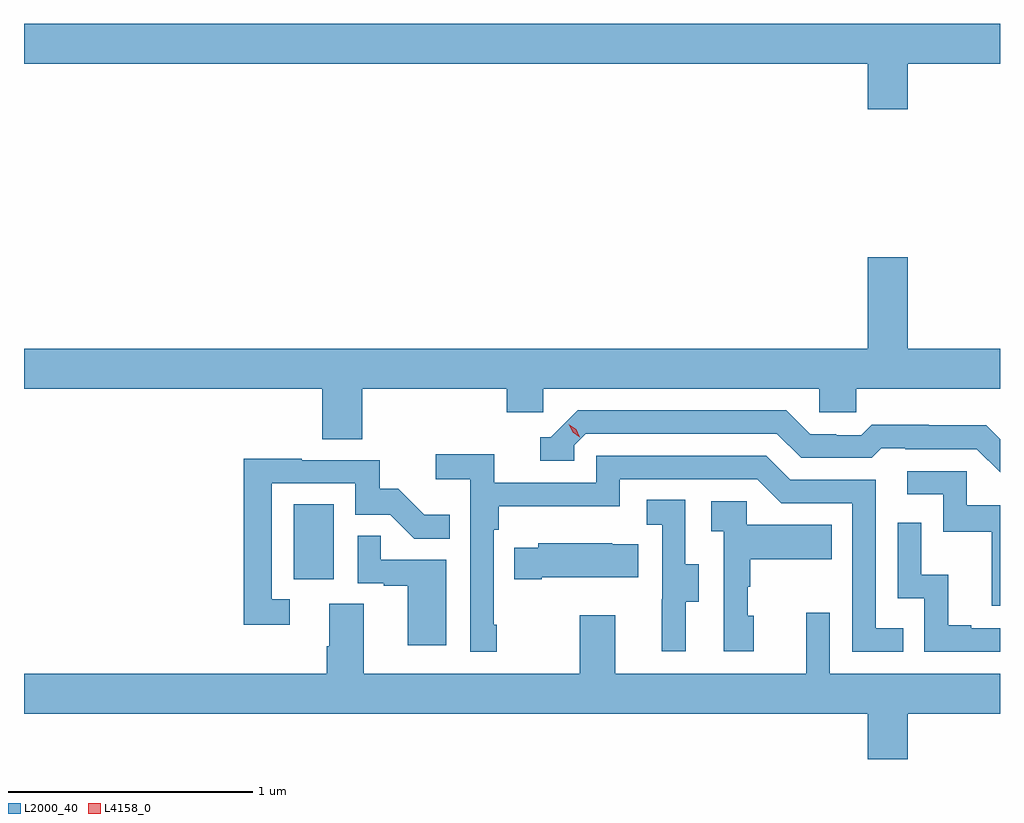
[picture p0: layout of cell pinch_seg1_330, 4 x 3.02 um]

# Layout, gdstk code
import gdstk
lib = gdstk.Library(unit=1e-6, precision=1e-09)
def R(c, l, rs):  # rectangles x0, y0, x1, y1
    for r in rs: c.add(gdstk.rectangle(r[:2], r[2:], *l))
def P(c, l, *ps):  # polygons
    for p in ps: c.add(gdstk.Polygon(p, *l))
L2000_40 = (2000, 40)
L4158_0 = (4158, 0)

pinch_seg1_330 = lib.new_cell('pinch_seg1_330')
R(pinch_seg1_330, L2000_40, [(1001.816,542.958,1001.98,543.265)])
P(pinch_seg1_330, L2000_40, [(1004.332,545.072),(1004.711,545.072),(1004.711,545.236),(1000.711,545.236),(1000.711,545.072),(1004.168,545.072),(1004.168,544.884),(1004.332,544.884)],
  [(1002.098,543.74),(1002.689,543.74),(1002.689,543.642),(1002.84,543.642),(1002.84,543.74),(1003.971,543.74),(1003.971,543.642),(1004.121,543.642),(1004.121,543.74),(1004.711,543.74),(1004.711,543.904),(1004.332,543.904),(1004.332,544.279),(1004.168,544.279),(1004.168,543.904),(1000.711,543.904),(1000.711,543.74),(1001.933,543.74),(1001.933,543.532),(1002.098,543.532)],
  [(1004.711,543.532),(1004.654,543.589),(1004.418,543.589),(1004.418,543.592),(1004.185,543.592),(1004.143,543.549),(1004.04,543.549),(1004.04,543.552),(1003.933,543.552),(1003.834,543.651),(1002.981,543.651),(1002.87,543.54),(1002.827,543.54),(1002.827,543.444),(1002.966,543.444),(1002.966,543.507),(1003.014,543.555),(1003.797,543.555),(1003.896,543.456),(1004.185,543.456),(1004.224,543.495),(1004.323,543.495),(1004.323,543.492),(1004.616,543.492),(1004.711,543.397)],
  [(1002.649,542.773),(1002.636,542.773),(1002.636,543.161),(1002.656,543.161),(1002.656,543.257),(1003.152,543.257),(1003.152,543.369),(1003.716,543.369),(1003.815,543.27),(1004.106,543.27),(1004.106,542.661),(1004.315,542.661),(1004.315,542.757),(1004.202,542.757),(1004.202,543.366),(1003.852,543.366),(1003.753,543.465),(1003.056,543.465),(1003.056,543.354),(1002.638,543.354),(1002.638,543.47),(1002.399,543.47),(1002.399,543.368),(1002.54,543.368),(1002.54,542.661),(1002.649,542.661)],
  [(1001.8,542.877),(1001.727,542.877),(1001.727,543.351),(1002.069,543.351),(1002.069,543.222),(1002.213,543.222),(1002.311,543.124),(1002.455,543.124),(1002.455,543.223),(1002.351,543.223),(1002.244,543.33),(1002.168,543.33),(1002.168,543.447),(1001.849,543.447),(1001.849,543.452),(1001.611,543.452),(1001.611,542.772),(1001.8,542.772)],
  [(1004.711,543.261),(1004.574,543.261),(1004.574,543.402),(1004.331,543.402),(1004.331,543.306),(1004.478,543.306),(1004.478,543.153),(1004.677,543.153),(1004.677,542.85),(1004.711,542.85)],
  [(1003.423,542.866),(1003.477,542.866),(1003.477,543.021),(1003.422,543.021),(1003.422,543.284),(1003.263,543.284),(1003.263,543.181),(1003.326,543.181),(1003.326,542.877),(1003.325,542.877),(1003.325,542.664),(1003.423,542.664)],
  [(1003.702,542.808),(1003.677,542.808),(1003.677,542.927),(1003.687,542.927),(1003.687,543.041),(1004.021,543.041),(1004.021,543.181),(1003.674,543.181),(1003.674,543.279),(1003.527,543.279),(1003.527,543.155),(1003.578,543.155),(1003.578,542.664),(1003.702,542.664)],
  [(1004.711,542.757),(1004.593,542.757),(1004.593,542.77),(1004.498,542.77),(1004.498,542.978),(1004.388,542.978),(1004.388,543.19),(1004.292,543.19),(1004.292,542.88),(1004.4,542.88),(1004.4,542.661),(1004.711,542.661)],
  [(1002.442,543.039),(1002.173,543.039),(1002.173,543.137),(1002.078,543.137),(1002.078,542.943),(1002.185,542.943),(1002.185,542.931),(1002.284,542.931),(1002.284,542.688),(1002.442,542.688)],
  [(1002.832,542.966),(1003.229,542.966),(1003.229,543.103),(1003.121,543.103),(1003.121,543.106),(1002.819,543.106),(1002.819,543.088),(1002.721,543.088),(1002.721,542.959),(1002.832,542.959)],
  [(1004.332,542.408),(1004.711,542.408),(1004.711,542.572),(1004.013,542.572),(1004.013,542.821),(1003.916,542.821),(1003.916,542.572),(1003.135,542.572),(1003.135,542.812),(1002.988,542.812),(1002.988,542.572),(1002.103,542.572),(1002.103,542.858),(1001.963,542.858),(1001.963,542.684),(1001.951,542.684),(1001.951,542.572),(1000.711,542.572),(1000.711,542.408),(1004.168,542.408),(1004.168,542.22),(1004.332,542.22)])
P(pinch_seg1_330, L4158_0, [(1002.989,543.54),(1002.959,543.56),(1002.943,543.593),(1002.943,543.594),(1002.944,543.594),(1002.974,543.574),(1002.989,543.541),(1002.989,543.54)])

lib.write_gds('pinch_seg1_330.gds')
